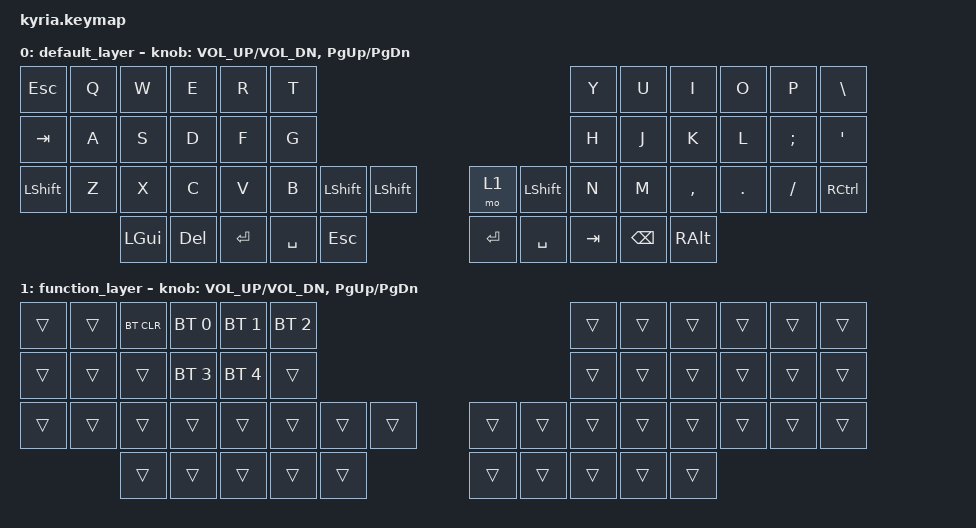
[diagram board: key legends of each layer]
/*
 * Copyright (c) 2020 The ZMK Contributors
 *
 * SPDX-License-Identifier: MIT
 */

#include <behaviors.dtsi>
#include <dt-bindings/zmk/bt.h>
#include <dt-bindings/zmk/keys.h>

&pinctrl {
    spi0_default: spi0_default {
        group1 {
            psels = <NRF_PSEL(SPIM_SCK, 0, 8)>,
                <NRF_PSEL(SPIM_MOSI, 0, 17)>,
                <NRF_PSEL(SPIM_MISO, 0, 17)>;
        };
    };

    spi0_sleep: spi0_sleep {
        group1 {
            psels = <NRF_PSEL(SPIM_SCK, 0, 8)>,
                <NRF_PSEL(SPIM_MOSI, 0, 17)>,
                <NRF_PSEL(SPIM_MISO, 0, 17)>;
            low-power-enable;
        };
    };
};

&spi0 {
    status = "okay";
    compatible = "nordic,nrf-spim";
    pinctrl-0 = <&spi0_default>;
    pinctrl-1 = <&spi0_sleep>;
    pinctrl-names = "default", "sleep";
    cs-gpios = <&gpio0 20 GPIO_ACTIVE_LOW>;

    trackball: trackball@0 {
        status = "okay";
        compatible = "pixart,pmw3610";
        reg = <0>;
        spi-max-frequency = <2000000>;
        irq-gpios = <&gpio0 6 (GPIO_ACTIVE_LOW | GPIO_PULL_UP)>;

        /*   optional features   */
        // snipe-layers = <1>;
        // scroll-layers = <2 3>;
        // automouse-layer = <4>;
    };
};

/ {
  trackball_listener {
    compatible = "zmk,input-listener";
    device = <&trackball>;

  };
};

/ {
    keymap {
        compatible = "zmk,keymap";

        default_layer {
// ---------------------------------------------------------------------------------------------------------------------------------
// |  ESC  |  Q  |  W  |  E   |  R   |  T   |                                          |  Y   |  U    |  I    |  O   |   P   |   \  |
// |  TAB  |  A  |  S  |  D   |  F   |  G   |                                          |  H   |  J    |  K    |  L   |   ;   |   '  |
// | SHIFT |  Z  |  X  |  C   |  V   |  B   | L SHIFT | L SHIFT |  | LAYER 1 | L SHIFT |  N   |  M    |  ,    |  .   |   /   | CTRL |
//                     | GUI  | DEL  | RET  |  SPACE  |   ESC   |  |   RET   |  SPACE  | TAB  | BSPC  | R-ALT |
            bindings = <
    &kp ESC   &kp Q &kp W &kp E &kp R &kp T                                                &kp Y &kp U  &kp I     &kp O   &kp P    &kp BSLH
    &kp TAB   &kp A &kp S &kp D &kp F &kp G                                                &kp H &kp J  &kp K     &kp L   &kp SEMI &kp SQT
    &kp LSHFT &kp Z &kp X &kp C &kp V &kp B &kp LSHFT &kp LSHFT        &mo 1    &kp LSHFT  &kp N &kp M  &kp COMMA &kp DOT &kp FSLH &kp RCTRL
                     &kp LGUI &kp DEL &kp RET &kp SPACE &kp ESC        &kp RET  &kp SPACE  &kp TAB &kp BSPC &kp RALT
            >;

            sensor-bindings = <&inc_dec_kp C_VOL_UP C_VOL_DN &inc_dec_kp PG_UP PG_DN>;
        };
        function_layer {
// ---------------------------------------------------------------------------------------------------------------------------------
// |       |      |BT_CLR|BTSEL0|BTSEL1|BTSEL2|                                         |      |      |      |      |      |      |
// |       |      |      |BTSEL3|BTSEL4|      |                                         |      |      |      |      |      |      |
// |       |      |      |      |      |      |      |      |      |      |      |      |      |      |      |      |      |      |
//                       |      |      |      |      |      |      |      |      |      |      |      |      |
            bindings = <
    &trans &trans &bt BT_CLR &bt BT_SEL 0 &bt BT_SEL 1 &bt BT_SEL 2              &trans &trans &trans &trans &trans &trans
    &trans &trans &trans     &bt BT_SEL 3 &bt BT_SEL 4 &trans                    &trans &trans &trans &trans &trans &trans
    &trans &trans &trans &trans &trans &trans &trans &trans        &trans &trans &trans &trans &trans &trans &trans &trans
                         &trans &trans &trans &trans &trans        &trans &trans &trans &trans &trans
            >;

            sensor-bindings = <&inc_dec_kp C_VOL_UP C_VOL_DN &inc_dec_kp PG_UP PG_DN>;
        };
    };
};
